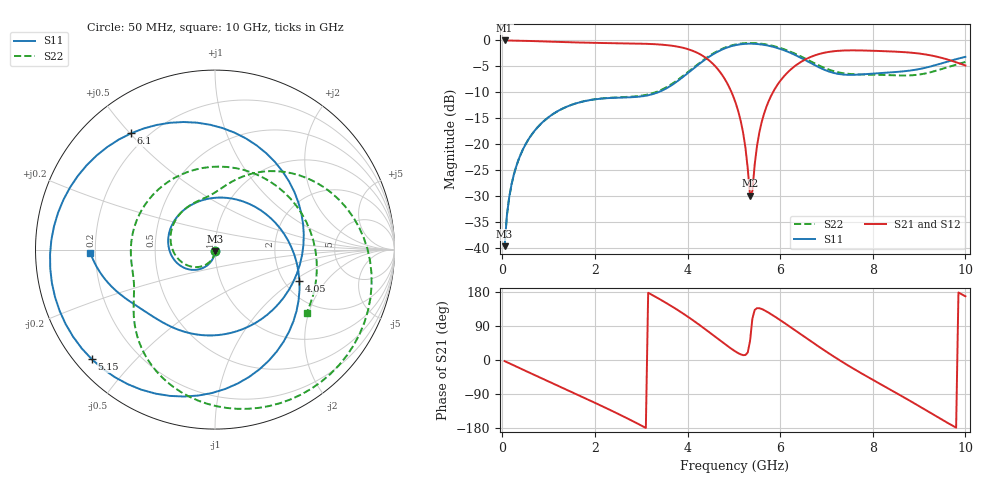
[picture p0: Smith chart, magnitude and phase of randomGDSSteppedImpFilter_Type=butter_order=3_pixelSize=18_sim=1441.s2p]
! freq	dB(S11)	phase(S11)	dB(S12)	phase(S12)
!  dB(S21)	phase(S21)	dB(S22)	phase(S22)
!S-par simulation data
#  GHz  S  DB  R 50
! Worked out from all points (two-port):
!   200 points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, 50 MHz to 10 GHz, reference 50 ohm
!   highest |S21| = 0.00 dB at 50 MHz (marker M1); lowest = -29.9 dB at 5.35 GHz (marker M2)
!   |S21| within 3 dB of the highest: start of sweep to 4.334 GHz; 6.71 GHz to 9.317 GHz (2.607 GHz wide, 32.5 % of centre)
!   lowest |S11| = -39.7 dB at 50 MHz (marker M3), VSWR 1.02, Z = 50 - j1.03 ohm
!   |S11| at or under -10 dB: start of sweep to 3.367 GHz
!   |S22| runs from -39.7 to -0.5 dB; largest |S21 - S12| = 0
!   S11 on the Smith chart (normalised r, x): 50 MHz: 1.00, -0.02; 4.05 GHz: 2.40, -1.12; 5.15 GHz: 0.05, -0.38; 6.1 GHz: 0.14, +0.50; 10 GHz: 0.18, -0.01
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0.05  -39.71 -92.2  -0.00 -2.9  -0.00 -2.9  -39.71 -92.7
0.2  -27.77 -100.4  -0.03 -11.5  -0.03 -11.5  -27.78 -102.4
0.5  -20.09 -116.5  -0.08 -28.5  -0.08 -28.5  -20.10 -121.5
1.15  -13.89 -150.5  -0.27 -65.2  -0.27 -65.2  -13.90 -161.2
1.75  -11.77 177.4  -0.42 -98.8  -0.42 -98.8  -11.76 163.5
2.7  -11.00 116.4  -0.57 -154.1  -0.57 -154.1  -10.90 113.9
3.4  -9.88 51.2  -0.79 160.4  -0.79 160.4  -9.68 87.4
4.05  -5.99 -20.4  -1.80 110.6  -1.80 110.6  -5.80 58.0
4.65  -2.17 -85.8  -5.51 56.5  -5.51 56.5  -2.03 13.2
5.05  -0.88 -128.1  -12.36 21.3  -12.36 21.3  -0.75 -21.6
5.15  -0.73 -138.3  -15.61 14.8  -15.61 14.8  -0.60 -30.3
5.35  -0.63 -158.5  -29.95 50.4  -29.95 50.4  -0.49 -47.1
5.65  -0.85 171.8  -14.21 131.8  -14.21 131.8  -0.70 -70.9
6.1  -1.95 125.8  -6.75 97.1  -6.75 97.1  -1.75 -103.0
6.4  -3.14 92.3  -4.42 71.9  -4.42 71.9  -2.88 -121.5
6.7  -4.56 55.6  -3.04 46.5  -3.04 46.5  -4.22 -136.6
7.05  -5.99 9.6  -2.21 17.7  -2.21 17.7  -5.63 -149.7
7.4  -6.62 -34.5  -1.94 -9.4  -1.94 -9.4  -6.37 -161.3
8.35  -6.19 -114.0  -2.11 -76.2  -2.11 -76.2  -6.70 142.6
9.1  -5.35 -145.0  -2.65 -128.9  -2.65 -128.9  -6.44 63.6
9.55  -4.25 -160.5  -3.52 -161.3  -3.52 -161.3  -5.34 11.0
10  -3.17 -178.5  -4.84 168.2  -4.84 168.2  -4.16 -34.5
